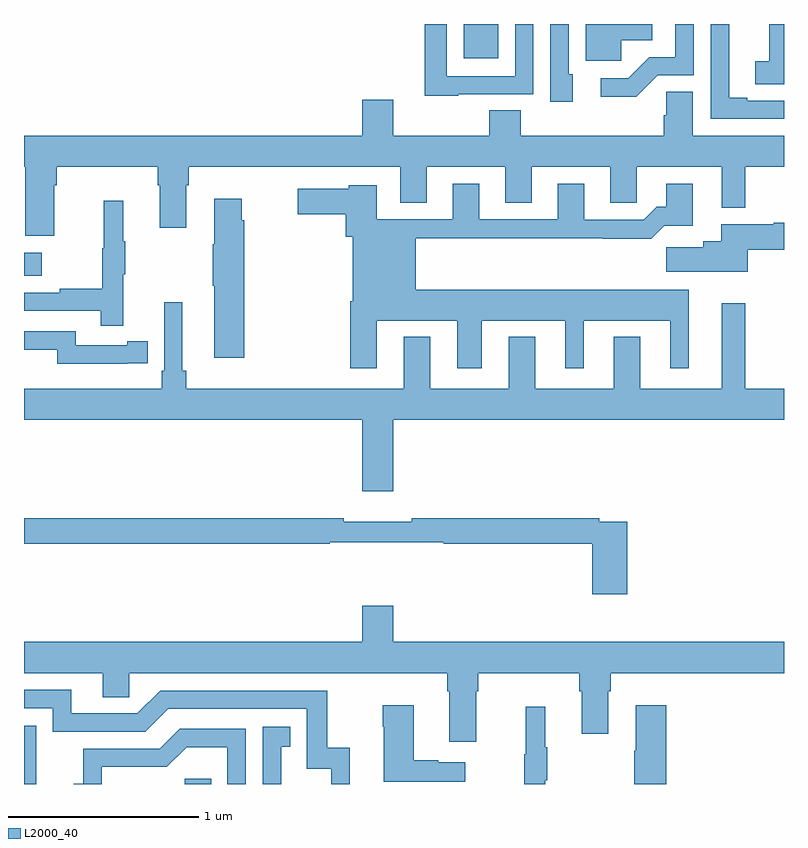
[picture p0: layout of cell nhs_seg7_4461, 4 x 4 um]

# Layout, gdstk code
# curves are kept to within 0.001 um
import gdstk
lib = gdstk.Library(unit=1e-6, precision=1e-09)
def R(c, l, rs):  # rectangles x0, y0, x1, y1
    for r in rs: c.add(gdstk.rectangle(r[:2], r[2:], *l))
def P(c, l, *ps):  # polygons
    for p in ps: c.add(gdstk.Polygon(p, *l))
L2000_40 = (2000, 40)

nhs_seg7_4461 = lib.new_cell('nhs_seg7_4461')
R(nhs_seg7_4461, L2000_40, [(391.845,1032,391.985,1032.027), (391,1034.675,391.093,1034.797), (393.314,1035.821,393.496,1036)])
P(nhs_seg7_4461, L2000_40, [(394.143,1035.914),(394.306,1035.914),(394.306,1036),(393.956,1036),(393.956,1035.807),(394.143,1035.807)],
  [(393.285,1035.63),(393.681,1035.63),(393.681,1036),(393.585,1036),(393.585,1035.726),(393.225,1035.726),(393.225,1036),(393.109,1036),(393.109,1035.623),(393.285,1035.623)],
  [(393.889,1035.735),(393.867,1035.735),(393.867,1036),(393.771,1036),(393.771,1035.591),(393.889,1035.591)],
  [(395,1035.597),(394.807,1035.597),(394.807,1035.612),(394.711,1035.612),(394.711,1036),(394.614,1036),(394.614,1035.501),(395,1035.501)],
  [(395,1036),(394.922,1036),(394.922,1035.804),(394.848,1035.804),(394.848,1035.682),(395,1035.682)],
  [(394.335,1035.729),(394.524,1035.729),(394.524,1036),(394.428,1036),(394.428,1035.825),(394.29,1035.825),(394.179,1035.714),(394.035,1035.714),(394.035,1035.617),(394.222,1035.617)],
  [(391.159,1035.152),(391.172,1035.152),(391.172,1035.248),(391.703,1035.248),(391.703,1035.152),(391.715,1035.152),(391.715,1034.928),(391.855,1034.928),(391.855,1035.152),(391.868,1035.152),(391.868,1035.248),(392.981,1035.248),(392.981,1035.058),(393.121,1035.058),(393.121,1035.248),(393.533,1035.248),(393.533,1035.058),(393.673,1035.058),(393.673,1035.248),(394.085,1035.248),(394.085,1035.058),(394.224,1035.058),(394.224,1035.248),(394.673,1035.248),(394.673,1035.032),(394.795,1035.032),(394.795,1035.248),(395,1035.248),(395,1035.412),(394.519,1035.412),(394.519,1035.644),(394.38,1035.644),(394.38,1035.521),(394.367,1035.521),(394.367,1035.412),(393.614,1035.412),(393.614,1035.545),(393.449,1035.545),(393.449,1035.412),(392.944,1035.412),(392.944,1035.601),(392.78,1035.601),(392.78,1035.412),(391,1035.412),(391,1035.248),(391.007,1035.248),(391.007,1034.886),(391.159,1034.886)],
  [(392.857,1034.438),(393.281,1034.438),(393.281,1034.187),(393.409,1034.187),(393.409,1034.438),(393.848,1034.438),(393.848,1034.187),(393.946,1034.187),(393.946,1034.438),(394.4,1034.438),(394.4,1034.187),(394.498,1034.187),(394.498,1034.602),(393.061,1034.602),(393.061,1034.872),(394.045,1034.872),(394.045,1034.87),(394.301,1034.87),(394.37,1034.939),(394.519,1034.939),(394.519,1035.16),(394.379,1035.16),(394.379,1035.037),(394.33,1035.037),(394.263,1034.97),(393.949,1034.97),(393.949,1035.16),(393.809,1035.16),(393.809,1034.973),(393.397,1034.973),(393.397,1035.16),(393.257,1035.16),(393.257,1034.973),(392.857,1034.973),(392.857,1035.151),(392.709,1035.151),(392.709,1035.133),(392.442,1035.133),(392.442,1034.999),(392.693,1034.999),(392.693,1034.88),(392.729,1034.88),(392.729,1034.542),(392.717,1034.542),(392.717,1034.187),(392.857,1034.187)],
  [(392.159,1034.966),(392.146,1034.966),(392.146,1035.079),(392,1035.079),(392,1034.84),(391.993,1034.84),(391.993,1034.623),(392,1034.623),(392,1034.244),(392.159,1034.244)],
  [(391.523,1034.683),(391.534,1034.683),(391.534,1034.857),(391.523,1034.857),(391.523,1035.07),(391.42,1035.07),(391.42,1034.82),(391.413,1034.82),(391.413,1034.606),(391.189,1034.606),(391.189,1034.586),(391,1034.586),(391,1034.49),(391.405,1034.49),(391.405,1034.412),(391.523,1034.412)],
  [(394.81,1034.813),(395,1034.813),(395,1034.955),(394.946,1034.955),(394.946,1034.947),(394.67,1034.947),(394.67,1034.857),(394.574,1034.857),(394.574,1034.825),(394.38,1034.825),(394.38,1034.696),(394.81,1034.696)],
  [(392.944,1033.916),(395,1033.916),(395,1034.08),(394.795,1034.08),(394.795,1034.53),(394.673,1034.53),(394.673,1034.08),(394.243,1034.08),(394.243,1034.353),(394.103,1034.353),(394.103,1034.08),(393.691,1034.08),(393.691,1034.353),(393.551,1034.353),(393.551,1034.08),(393.139,1034.08),(393.139,1034.353),(392.999,1034.353),(392.999,1034.08),(391.853,1034.08),(391.853,1034.176),(391.834,1034.176),(391.834,1034.536),(391.737,1034.536),(391.737,1034.176),(391.724,1034.176),(391.724,1034.08),(391,1034.08),(391,1033.916),(392.78,1033.916),(392.78,1033.542),(392.944,1033.542)],
  [(391.544,1034.214),(391.652,1034.214),(391.652,1034.33),(391.544,1034.33),(391.544,1034.31),(391.272,1034.31),(391.272,1034.382),(391,1034.382),(391,1034.286),(391.176,1034.286),(391.176,1034.213),(391.544,1034.213)],
  [(394.175,1033.38),(394.028,1033.38),(394.028,1033.4),(393.04,1033.4),(393.04,1033.381),(392.684,1033.381),(392.684,1033.4),(391,1033.4),(391,1033.264),(392.608,1033.264),(392.608,1033.272),(393.208,1033.272),(393.208,1033.264),(393.992,1033.264),(393.992,1032.999),(394.175,1032.999)],
  [(393.379,1032.488),(393.392,1032.488),(393.392,1032.584),(393.923,1032.584),(393.923,1032.488),(393.935,1032.488),(393.935,1032.264),(394.075,1032.264),(394.075,1032.488),(394.088,1032.488),(394.088,1032.584),(395,1032.584),(395,1032.748),(392.944,1032.748),(392.944,1032.937),(392.78,1032.937),(392.78,1032.748),(391,1032.748),(391,1032.584),(391.415,1032.584),(391.415,1032.457),(391.554,1032.457),(391.554,1032.584),(393.227,1032.584),(393.227,1032.488),(393.239,1032.488),(393.239,1032.222),(393.379,1032.222)],
  [(392.714,1032.19),(392.596,1032.19),(392.596,1032.492),(391.716,1032.492),(391.596,1032.372),(391.249,1032.372),(391.249,1032.495),(391,1032.495),(391,1032.399),(391.152,1032.399),(391.152,1032.276),(391.638,1032.276),(391.758,1032.396),(392.487,1032.396),(392.487,1032.081),(392.616,1032.081),(392.616,1032),(392.714,1032)],
  [(394.379,1032.415),(394.22,1032.415),(394.22,1032.176),(394.213,1032.176),(394.213,1032),(394.379,1032)],
  [(393.322,1032.115),(393.179,1032.115),(393.179,1032.125),(393.052,1032.125),(393.052,1032.415),(392.887,1032.415),(392.887,1032.302),(392.894,1032.302),(392.894,1032.011),(393.322,1032.011)],
  [(393.743,1032.019),(393.754,1032.019),(393.754,1032.193),(393.743,1032.193),(393.743,1032.406),(393.64,1032.406),(393.64,1032.156),(393.633,1032.156),(393.633,1032),(393.743,1032)],
  [(391.064,1032.101),(391.065,1032.101),(391.065,1032.307),(391,1032.307),(391,1032),(391.064,1032)],
  [(392.353,1032.195),(392.402,1032.195),(392.402,1032.301),(392.256,1032.301),(392.256,1032),(392.353,1032)],
  [(391.41,1032.09),(391.752,1032.09),(391.856,1032.194),(392.07,1032.194),(392.07,1032),(392.166,1032),(392.166,1032.291),(391.82,1032.291),(391.715,1032.186),(391.312,1032.186),(391.312,1032.001),(391.263,1032),(391.41,1032)])

lib.write_gds('nhs_seg7_4461.gds')
